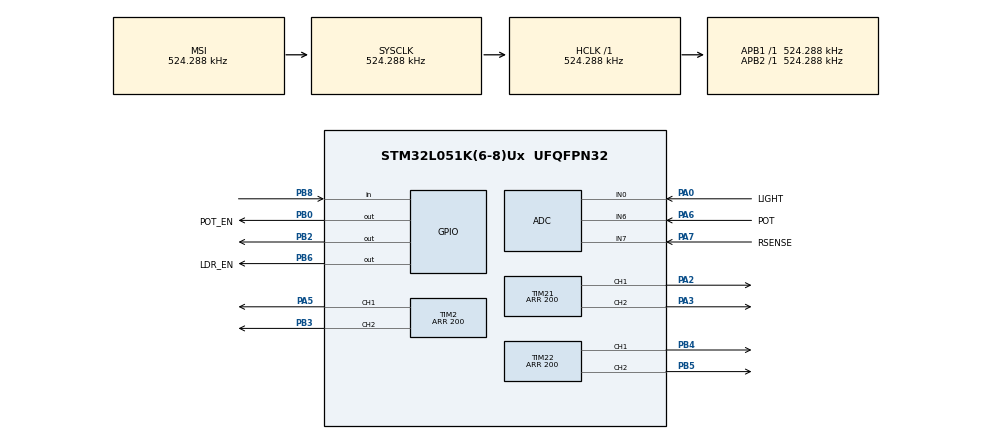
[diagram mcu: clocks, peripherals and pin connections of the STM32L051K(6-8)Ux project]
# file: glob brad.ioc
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ADC.ClockPrescaler=ADC_CLOCK_ASYNC_DIV64
ADC.ContinuousConvMode=DISABLE
ADC.DMAContinuousRequests=DISABLE
ADC.DiscontinuousConvMode=ENABLE
ADC.EOCSelection=ADC_EOC_SINGLE_CONV
ADC.LowPowerAutoPowerOff=ENABLE
ADC.LowPowerAutoWait=DISABLE
ADC.LowPowerFrequencyMode=ENABLE
ADC.Overrun=ADC_OVR_DATA_PRESERVED
ADC.OversamplingMode=DISABLE
ADC.SamplingTime=ADC_SAMPLETIME_79CYCLES_5
FREERTOS.HEAP_NUMBER=2
FREERTOS.INCLUDE_eTaskGetState=1
FREERTOS.INCLUDE_vTaskDelayUntil=1
FREERTOS.INCLUDE_xTaskAbortDelay=1
FREERTOS.INCLUDE_xTaskGetHandle=1
FREERTOS.Tasks01=defaultTask,0,64,StartDefaultTask,Default,NULL,Dynamic,NULL,NULL
FREERTOS.configCHECK_FOR_STACK_OVERFLOW=2
FREERTOS.configMAX_CO_ROUTINE_PRIORITIES=2
FREERTOS.configMAX_PRIORITIES=10
FREERTOS.configMINIMAL_STACK_SIZE=64
FREERTOS.configTICK_RATE_HZ=1000
FREERTOS.configTOTAL_HEAP_SIZE=5000
FREERTOS.configUSE_MUTEXES=0
FREERTOS.configUSE_PREEMPTION=1
Mcu.Family=STM32L0
Mcu.Name=STM32L051K(6-8)Ux
Mcu.Package=UFQFPN32
NVIC.ADC1_COMP_IRQn=true\:3\:0\:false\:false\:true\:true\:true\:true
NVIC.TIM6_DAC_IRQn=true\:0\:0\:false\:false\:true\:false\:false\:true
NVIC.TimeBase=TIM6_DAC_IRQn
NVIC.TimeBaseIP=TIM6
PA0.GPIO_Label=LIGHT
PA0.Mode=IN0
PA0.Signal=ADC_IN0
PA13.Mode=Serial_Wire
PA13.Signal=SYS_SWDIO
PA14.Mode=Serial_Wire
PA14.Signal=SYS_SWCLK
PA2.Signal=S_TIM21_CH1
PA3.Signal=S_TIM21_CH2
PA5.Signal=S_TIM2_CH1
PA6.GPIO_Label=POT
PA6.Mode=IN6
PA6.Signal=ADC_IN6
PA7.GPIO_Label=RSENSE
PA7.Mode=IN7
PA7.Signal=ADC_IN7
PB0.GPIO_Label=POT_EN
PB0.GPIO_ModeDefaultOutputPP=GPIO_MODE_OUTPUT_PP
PB0.GPIO_PuPd=GPIO_NOPULL
PB0.GPIO_Speed=GPIO_SPEED_FREQ_LOW
PB0.PinState=GPIO_PIN_RESET
PB0.Signal=GPIO_Output
PB2.Signal=GPIO_Output
PB3.Signal=S_TIM2_CH2
PB4.Signal=S_TIM22_CH1
PB5.Signal=S_TIM22_CH2
PB6.GPIO_FM6=__NULL
PB6.GPIO_Label=LDR_EN
PB6.GPIO_ModeDefaultOutputPP=GPIO_MODE_OUTPUT_PP
PB6.GPIO_PuPd=GPIO_NOPULL
PB6.GPIO_Speed=GPIO_SPEED_FREQ_LOW
PB6.PinState=GPIO_PIN_RESET
PB6.Signal=GPIO_Output
PB8.GPIO_Mode=GPIO_MODE_INPUT
PB8.GPIO_PuPd=GPIO_PULLUP
PB8.Signal=GPIO_Input
ProjectManager.HeapSize=0x200
ProjectManager.StackSize=0x400
ProjectManager.TargetToolchain=STM32CubeIDE
RCC.AHBFreq_Value=524288
RCC.APB1Freq_Value=524288
RCC.APB1TimFreq_Value=524288
RCC.APB2Freq_Value=524288
RCC.APB2TimFreq_Value=524288
RCC.HCLKFreq_Value=524288
RCC.HSI16_VALUE=16000000
RCC.HSI_VALUE=16000000
RCC.LSE_VALUE=32768
RCC.MSIClockRange=RCC_MSIRANGE_3
RCC.MSI_VALUE=524288
RCC.PWR_Regulator_Voltage_Scale=PWR_REGULATOR_VOLTAGE_SCALE3
RCC.SYSCLKFreq_VALUE=524288
RCC.VCOOutputFreq_Value=48000000
SH.S_TIM21_CH1.0=TIM21_CH1,PWM Generation1 CH1
SH.S_TIM21_CH2.0=TIM21_CH2,PWM Generation2 CH2
SH.S_TIM22_CH1.0=TIM22_CH1,PWM Generation1 CH1
SH.S_TIM22_CH2.0=TIM22_CH2,PWM Generation2 CH2
SH.S_TIM2_CH1.0=TIM2_CH1,PWM Generation1 CH1
SH.S_TIM2_CH2.0=TIM2_CH2,PWM Generation2 CH2
TIM2.Channel-PWM\ Generation1\ CH1=TIM_CHANNEL_1
TIM2.Channel-PWM\ Generation2\ CH2=TIM_CHANNEL_2
TIM2.Period=200
TIM2.Pulse-PWM\ Generation1\ CH1=200
TIM2.Pulse-PWM\ Generation2\ CH2=200
TIM21.Channel-PWM\ Generation1\ CH1=TIM_CHANNEL_1
TIM21.Channel-PWM\ Generation2\ CH2=TIM_CHANNEL_2
TIM21.Period=200
TIM21.Pulse-PWM\ Generation1\ CH1=200
TIM21.Pulse-PWM\ Generation2\ CH2=200
TIM22.Channel-PWM\ Generation1\ CH1=TIM_CHANNEL_1
TIM22.Channel-PWM\ Generation2\ CH2=TIM_CHANNEL_2
TIM22.Period=200
TIM22.Pulse-PWM\ Generation1\ CH1=200
TIM22.Pulse-PWM\ Generation2\ CH2=200
VP_ADC_TempSens_Input.Mode=IN-TempSens
VP_ADC_Vref_Input.Mode=IN-Vrefint
VP_FREERTOS_VS_CMSIS_V1.Mode=CMSIS_V1
VP_SYS_VS_tim6.Mode=TIM6
VP_TIM21_VS_ClockSourceINT.Mode=Internal
VP_TIM22_VS_ClockSourceINT.Mode=Internal
VP_TIM2_VS_ClockSourceINT.Mode=Internal
board=custom

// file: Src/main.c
/* USER CODE BEGIN Header */
/**
  ******************************************************************************
  * @file           : main.c
  * @brief          : Main program body
  ******************************************************************************
  * @attention
  *
  * <h2><center>&copy; Copyright (c) 2019 STMicroelectronics.
  * All rights reserved.</center></h2>
  *
  * This software component is licensed by ST under BSD 3-Clause license,
  * the "License"; You may not use this file except in compliance with the
  * License. You may obtain a copy of the License at:
  *                        opensource.org/licenses/BSD-3-Clause
  *
  ******************************************************************************
  */
/* USER CODE END Header */

#include "main.h"
#include "cmsis_os.h"

ADC_HandleTypeDef hadc;

TIM_HandleTypeDef htim2;
TIM_HandleTypeDef htim21;
TIM_HandleTypeDef htim22;

osThreadId defaultTaskHandle;
/* USER CODE BEGIN PV */
#include "clock.h"
#include "globalVariables.h"
#include "mainOperatingFunctions.h"
#include "tasks.h"
#include "adcFunctions.h"

/* USER CODE END PV */

void SystemClock_Config(void);
static void MX_GPIO_Init(void);
static void MX_TIM2_Init(void);
static void MX_TIM21_Init(void);
static void MX_TIM22_Init(void);
static void MX_ADC_Init(void);
void StartDefaultTask(void const * argument);

/* USER CODE BEGIN 0 */

void powerUp()
{
	statusLed(1);
	HAL_Delay(300);
	for(uint8_t i=1 ; i<=3 ; i++)
	{
		for(uint8_t j=0 ; j<=100 ; j++)
		{
			setLed(i, j*2);
			setLed(7-i, j*2);
			HAL_Delay(1);
		}
	}

	for(uint8_t i=100 ; i>=0 && i<200 ; i--) // for uint8_t, 0 - 1 = 255
	{
		setLed(1, i*2);
		setLed(3, i*2);
		setLed(4, i*2);
		setLed(6, i*2);
		HAL_Delay(3);
	}
	for(uint8_t i=100 ; i>=0 && i<200 ; i--)
	{
		setLed(2, i*2);
		setLed(5, i*2);
		HAL_Delay(3);
	}
	HAL_Delay(500);
	statusLed(0);
}

/* USER CODE END 0 */

int main(void)
{

  /* MCU Configuration--------------------------------------------------------*/

  /* Reset of all peripherals, Initializes the Flash interface and the Systick. */
  HAL_Init();

  /* Configure the system clock */
  SystemClock_Config();

  /* Initialize all configured peripherals */
  MX_GPIO_Init();
  MX_TIM2_Init();
  MX_TIM21_Init();
  MX_TIM22_Init();
  MX_ADC_Init();
  /* USER CODE BEGIN 2 */

  enableTimers();
  setAll(0);
  ChangeSystemClock(2);
  powerUp();

  /* USER CODE END 2 */

  /* Create the thread(s) */
  /* definition and creation of defaultTask */
  osThreadDef(defaultTask, StartDefaultTask, osPriorityNormal, 0, 64);
  defaultTaskHandle = osThreadCreate(osThread(defaultTask), NULL);

  /* USER CODE BEGIN RTOS_THREADS */
  /* add threads, ... */

   /* xTaskCreate(functionName, taskName, stackSize, parameters, priority, taskHandlePointer) */
  xTaskCreate(fadeLedsOut, "fadeLedsOut", 64, NULL, 5, NULL);
  xTaskCreate(rotate, "rotate", 64, NULL, 5, NULL);
  xTaskCreate(breathe, "breathe",64,NULL,5,NULL);
  xTaskCreate(singleColors, "singleColors", 64, null, 5, null);
  xTaskCreate(loop, "loop", 64, NULL, 5, NULL);
  xTaskCreate(randomFadeOut, "randomFadeOut", 64, null, 5, null);

  xTaskCreate(checkButton, "chkBtn", 100, NULL, 5, NULL);
  xTaskCreate(getADC, "adc", 80, NULL, 6, NULL);
  xTaskCreate(calcValues, "calc", 80, null, 5, null);
  xTaskCreate(checkADC, "chkadc", 64, null, 6, null);

  /* Delete the default task spawned by STM32CubeMX */
  vTaskDelete(defaultTaskHandle);
  suspendAll();

  if(debugRunCurrent == 0){
	  checkModes();
  }
  vTaskResume(xTaskGetHandle("chkBtn"));

  /* USER CODE END RTOS_THREADS */

  /* Start scheduler */
  osKernelStart();

  /* We should never get here as control is now taken by the scheduler */
  /* Infinite loop */
  while(1)
  {

  }
}

void SystemClock_Config(void)
{
  RCC_OscInitTypeDef RCC_OscInitStruct = {0};
  RCC_ClkInitTypeDef RCC_ClkInitStruct = {0};

  /** Configure the main internal regulator output voltage
  */
  __HAL_PWR_VOLTAGESCALING_CONFIG(PWR_REGULATOR_VOLTAGE_SCALE3);
  /** Initializes the CPU, AHB and APB busses clocks
  */
  RCC_OscInitStruct.OscillatorType = RCC_OSCILLATORTYPE_HSI|RCC_OSCILLATORTYPE_MSI;
  RCC_OscInitStruct.HSIState = RCC_HSI_ON;
  RCC_OscInitStruct.HSICalibrationValue = RCC_HSICALIBRATION_DEFAULT;
  RCC_OscInitStruct.MSIState = RCC_MSI_ON;
  RCC_OscInitStruct.MSICalibrationValue = 0;
  RCC_OscInitStruct.MSIClockRange = RCC_MSIRANGE_3;
  RCC_OscInitStruct.PLL.PLLState = RCC_PLL_NONE;
  if (HAL_RCC_OscConfig(&RCC_OscInitStruct) != HAL_OK)
  {
    Error_Handler();
  }
  /** Initializes the CPU, AHB and APB busses clocks
  */
  RCC_ClkInitStruct.ClockType = RCC_CLOCKTYPE_HCLK|RCC_CLOCKTYPE_SYSCLK
                              |RCC_CLOCKTYPE_PCLK1|RCC_CLOCKTYPE_PCLK2;
  RCC_ClkInitStruct.SYSCLKSource = RCC_SYSCLKSOURCE_MSI;
  RCC_ClkInitStruct.AHBCLKDivider = RCC_SYSCLK_DIV1;
  RCC_ClkInitStruct.APB1CLKDivider = RCC_HCLK_DIV1;
  RCC_ClkInitStruct.APB2CLKDivider = RCC_HCLK_DIV1;

  if (HAL_RCC_ClockConfig(&RCC_ClkInitStruct, FLASH_LATENCY_0) != HAL_OK)
  {
    Error_Handler();
  }
}

static void MX_ADC_Init(void)
{

  ADC_ChannelConfTypeDef sConfig = {0};

  /** Configure the global features of the ADC (Clock, Resolution, Data Alignment and number of conversion)
  */
  hadc.Instance = ADC1;
  hadc.Init.OversamplingMode = DISABLE;
  hadc.Init.ClockPrescaler = ADC_CLOCK_ASYNC_DIV64;
  hadc.Init.Resolution = ADC_RESOLUTION_12B;
  hadc.Init.SamplingTime = ADC_SAMPLETIME_79CYCLES_5;
  hadc.Init.ScanConvMode = ADC_SCAN_DIRECTION_FORWARD;
  hadc.Init.DataAlign = ADC_DATAALIGN_RIGHT;
  hadc.Init.ContinuousConvMode = DISABLE;
  hadc.Init.DiscontinuousConvMode = ENABLE;
  hadc.Init.ExternalTrigConvEdge = ADC_EXTERNALTRIGCONVEDGE_NONE;
  hadc.Init.ExternalTrigConv = ADC_SOFTWARE_START;
  hadc.Init.DMAContinuousRequests = DISABLE;
  hadc.Init.EOCSelection = ADC_EOC_SINGLE_CONV;
  hadc.Init.Overrun = ADC_OVR_DATA_PRESERVED;
  hadc.Init.LowPowerAutoWait = DISABLE;
  hadc.Init.LowPowerFrequencyMode = ENABLE;
  hadc.Init.LowPowerAutoPowerOff = ENABLE;
  if (HAL_ADC_Init(&hadc) != HAL_OK)
  {
    Error_Handler();
  }
  /** Configure for the selected ADC regular channel to be converted.
  */
  sConfig.Channel = ADC_CHANNEL_0;
  sConfig.Rank = ADC_RANK_CHANNEL_NUMBER;
  if (HAL_ADC_ConfigChannel(&hadc, &sConfig) != HAL_OK)
  {
    Error_Handler();
  }
  /** Configure for the selected ADC regular channel to be converted.
  */
  sConfig.Channel = ADC_CHANNEL_6;
  if (HAL_ADC_ConfigChannel(&hadc, &sConfig) != HAL_OK)
  {
    Error_Handler();
  }
  /** Configure for the selected ADC regular channel to be converted.
  */
  sConfig.Channel = ADC_CHANNEL_7;
  if (HAL_ADC_ConfigChannel(&hadc, &sConfig) != HAL_OK)
  {
    Error_Handler();
  }
  /** Configure for the selected ADC regular channel to be converted.
  */
  sConfig.Channel = ADC_CHANNEL_TEMPSENSOR;
  if (HAL_ADC_ConfigChannel(&hadc, &sConfig) != HAL_OK)
  {
    Error_Handler();
  }
  /** Configure for the selected ADC regular channel to be converted.
  */
  sConfig.Channel = ADC_CHANNEL_VREFINT;
  if (HAL_ADC_ConfigChannel(&hadc, &sConfig) != HAL_OK)
  {
    Error_Handler();
  }

}

static void MX_TIM2_Init(void)
{

  TIM_ClockConfigTypeDef sClockSourceConfig = {0};
  TIM_MasterConfigTypeDef sMasterConfig = {0};
  TIM_OC_InitTypeDef sConfigOC = {0};

  htim2.Instance = TIM2;
  htim2.Init.Prescaler = 0;
  htim2.Init.CounterMode = TIM_COUNTERMODE_UP;
  htim2.Init.Period = 200;
  htim2.Init.ClockDivision = TIM_CLOCKDIVISION_DIV1;
  htim2.Init.AutoReloadPreload = TIM_AUTORELOAD_PRELOAD_DISABLE;
  if (HAL_TIM_Base_Init(&htim2) != HAL_OK)
  {
    Error_Handler();
  }
  sClockSourceConfig.ClockSource = TIM_CLOCKSOURCE_INTERNAL;
  if (HAL_TIM_ConfigClockSource(&htim2, &sClockSourceConfig) != HAL_OK)
  {
    Error_Handler();
  }
  if (HAL_TIM_PWM_Init(&htim2) != HAL_OK)
  {
    Error_Handler();
  }
  sMasterConfig.MasterOutputTrigger = TIM_TRGO_RESET;
  sMasterConfig.MasterSlaveMode = TIM_MASTERSLAVEMODE_DISABLE;
  if (HAL_TIMEx_MasterConfigSynchronization(&htim2, &sMasterConfig) != HAL_OK)
  {
    Error_Handler();
  }
  sConfigOC.OCMode = TIM_OCMODE_PWM1;
  sConfigOC.Pulse = 200;
  sConfigOC.OCPolarity = TIM_OCPOLARITY_HIGH;
  sConfigOC.OCFastMode = TIM_OCFAST_DISABLE;
  if (HAL_TIM_PWM_ConfigChannel(&htim2, &sConfigOC, TIM_CHANNEL_1) != HAL_OK)
  {
    Error_Handler();
  }
  if (HAL_TIM_PWM_ConfigChannel(&htim2, &sConfigOC, TIM_CHANNEL_2) != HAL_OK)
  {
    Error_Handler();
  }
  HAL_TIM_MspPostInit(&htim2);

}

static void MX_TIM21_Init(void)
{

  TIM_ClockConfigTypeDef sClockSourceConfig = {0};
  TIM_MasterConfigTypeDef sMasterConfig = {0};
  TIM_OC_InitTypeDef sConfigOC = {0};

  htim21.Instance = TIM21;
  htim21.Init.Prescaler = 0;
  htim21.Init.CounterMode = TIM_COUNTERMODE_UP;
  htim21.Init.Period = 200;
  htim21.Init.ClockDivision = TIM_CLOCKDIVISION_DIV1;
  htim21.Init.AutoReloadPreload = TIM_AUTORELOAD_PRELOAD_DISABLE;
  if (HAL_TIM_Base_Init(&htim21) != HAL_OK)
  {
    Error_Handler();
  }
  sClockSourceConfig.ClockSource = TIM_CLOCKSOURCE_INTERNAL;
  if (HAL_TIM_ConfigClockSource(&htim21, &sClockSourceConfig) != HAL_OK)
  {
    Error_Handler();
  }
  if (HAL_TIM_PWM_Init(&htim21) != HAL_OK)
  {
    Error_Handler();
  }
  sMasterConfig.MasterOutputTrigger = TIM_TRGO_RESET;
  sMasterConfig.MasterSlaveMode = TIM_MASTERSLAVEMODE_DISABLE;
  if (HAL_TIMEx_MasterConfigSynchronization(&htim21, &sMasterConfig) != HAL_OK)
  {
    Error_Handler();
  }
  sConfigOC.OCMode = TIM_OCMODE_PWM1;
  sConfigOC.Pulse = 200;
  sConfigOC.OCPolarity = TIM_OCPOLARITY_HIGH;
  sConfigOC.OCFastMode = TIM_OCFAST_DISABLE;
  if (HAL_TIM_PWM_ConfigChannel(&htim21, &sConfigOC, TIM_CHANNEL_1) != HAL_OK)
  {
    Error_Handler();
  }
  if (HAL_TIM_PWM_ConfigChannel(&htim21, &sConfigOC, TIM_CHANNEL_2) != HAL_OK)
  {
    Error_Handler();
  }
  HAL_TIM_MspPostInit(&htim21);

}

static void MX_TIM22_Init(void)
{

  TIM_ClockConfigTypeDef sClockSourceConfig = {0};
  TIM_MasterConfigTypeDef sMasterConfig = {0};
  TIM_OC_InitTypeDef sConfigOC = {0};

  htim22.Instance = TIM22;
  htim22.Init.Prescaler = 0;
  htim22.Init.CounterMode = TIM_COUNTERMODE_UP;
  htim22.Init.Period = 200;
  htim22.Init.ClockDivision = TIM_CLOCKDIVISION_DIV1;
  htim22.Init.AutoReloadPreload = TIM_AUTORELOAD_PRELOAD_DISABLE;
  if (HAL_TIM_Base_Init(&htim22) != HAL_OK)
  {
    Error_Handler();
  }
  sClockSourceConfig.ClockSource = TIM_CLOCKSOURCE_INTERNAL;
  if (HAL_TIM_ConfigClockSource(&htim22, &sClockSourceConfig) != HAL_OK)
  {
    Error_Handler();
  }
  if (HAL_TIM_PWM_Init(&htim22) != HAL_OK)
  {
    Error_Handler();
  }
  sMasterConfig.MasterOutputTrigger = TIM_TRGO_RESET;
  sMasterConfig.MasterSlaveMode = TIM_MASTERSLAVEMODE_DISABLE;
  if (HAL_TIMEx_MasterConfigSynchronization(&htim22, &sMasterConfig) != HAL_OK)
  {
    Error_Handler();
  }
  sConfigOC.OCMode = TIM_OCMODE_PWM1;
  sConfigOC.Pulse = 200;
  sConfigOC.OCPolarity = TIM_OCPOLARITY_HIGH;
  sConfigOC.OCFastMode = TIM_OCFAST_DISABLE;
  if (HAL_TIM_PWM_ConfigChannel(&htim22, &sConfigOC, TIM_CHANNEL_1) != HAL_OK)
  {
    Error_Handler();
  }
  if (HAL_TIM_PWM_ConfigChannel(&htim22, &sConfigOC, TIM_CHANNEL_2) != HAL_OK)
  {
    Error_Handler();
  }
  HAL_TIM_MspPostInit(&htim22);

}

static void MX_GPIO_Init(void)
{
  GPIO_InitTypeDef GPIO_InitStruct = {0};

  /* GPIO Ports Clock Enable */
  __HAL_RCC_GPIOC_CLK_ENABLE();
  __HAL_RCC_GPIOA_CLK_ENABLE();
  __HAL_RCC_GPIOB_CLK_ENABLE();

  /*Configure GPIO pin Output Level */
  HAL_GPIO_WritePin(GPIOB, POT_EN_Pin|GPIO_PIN_2|LDR_EN_Pin, GPIO_PIN_RESET);

  /*Configure GPIO pins : PC14 PC15 */
  GPIO_InitStruct.Pin = GPIO_PIN_14|GPIO_PIN_15;
  GPIO_InitStruct.Mode = GPIO_MODE_ANALOG;
  GPIO_InitStruct.Pull = GPIO_NOPULL;
  HAL_GPIO_Init(GPIOC, &GPIO_InitStruct);

  /*Configure GPIO pins : PA1 PA4 PA8 PA9
                           PA10 PA11 PA12 PA15 */
  GPIO_InitStruct.Pin = GPIO_PIN_1|GPIO_PIN_4|GPIO_PIN_8|GPIO_PIN_9
                          |GPIO_PIN_10|GPIO_PIN_11|GPIO_PIN_12|GPIO_PIN_15;
  GPIO_InitStruct.Mode = GPIO_MODE_ANALOG;
  GPIO_InitStruct.Pull = GPIO_NOPULL;
  HAL_GPIO_Init(GPIOA, &GPIO_InitStruct);

  /*Configure GPIO pins : POT_EN_Pin PB2 LDR_EN_Pin */
  GPIO_InitStruct.Pin = POT_EN_Pin|GPIO_PIN_2|LDR_EN_Pin;
  GPIO_InitStruct.Mode = GPIO_MODE_OUTPUT_PP;
  GPIO_InitStruct.Pull = GPIO_NOPULL;
  GPIO_InitStruct.Speed = GPIO_SPEED_FREQ_LOW;
  HAL_GPIO_Init(GPIOB, &GPIO_InitStruct);

  /*Configure GPIO pins : PB1 PB7 */
  GPIO_InitStruct.Pin = GPIO_PIN_1|GPIO_PIN_7;
  GPIO_InitStruct.Mode = GPIO_MODE_ANALOG;
  GPIO_InitStruct.Pull = GPIO_NOPULL;
  HAL_GPIO_Init(GPIOB, &GPIO_InitStruct);

  /*Configure GPIO pin : PB8 */
  GPIO_InitStruct.Pin = GPIO_PIN_8;
  GPIO_InitStruct.Mode = GPIO_MODE_INPUT;
  GPIO_InitStruct.Pull = GPIO_PULLUP;
  HAL_GPIO_Init(GPIOB, &GPIO_InitStruct);

}

void StartDefaultTask(void const * argument)
{
  /* USER CODE BEGIN 5 */
  /* Infinite loop */
	HAL_GPIO_WritePin(GPIOB, GPIO_PIN_2, GPIO_PIN_SET);
		for(;;){
			decreaseAll(10);
			osDelay(1);
		}
  /* USER CODE END 5 */
}

 /**
  * @brief  Period elapsed callback in non blocking mode
  * @note   This function is called  when TIM6 interrupt took place, inside
  * HAL_TIM_IRQHandler(). It makes a direct call to HAL_IncTick() to increment
  * a global variable "uwTick" used as application time base.
  * @param  htim : TIM handle
  * @retval None
  */
void HAL_TIM_PeriodElapsedCallback(TIM_HandleTypeDef *htim)
{
  if (htim->Instance == TIM6) {
    HAL_IncTick();
  }
}

void Error_Handler(void)
{
}

/************************ (C) COPYRIGHT STMicroelectronics *****END OF FILE****/
